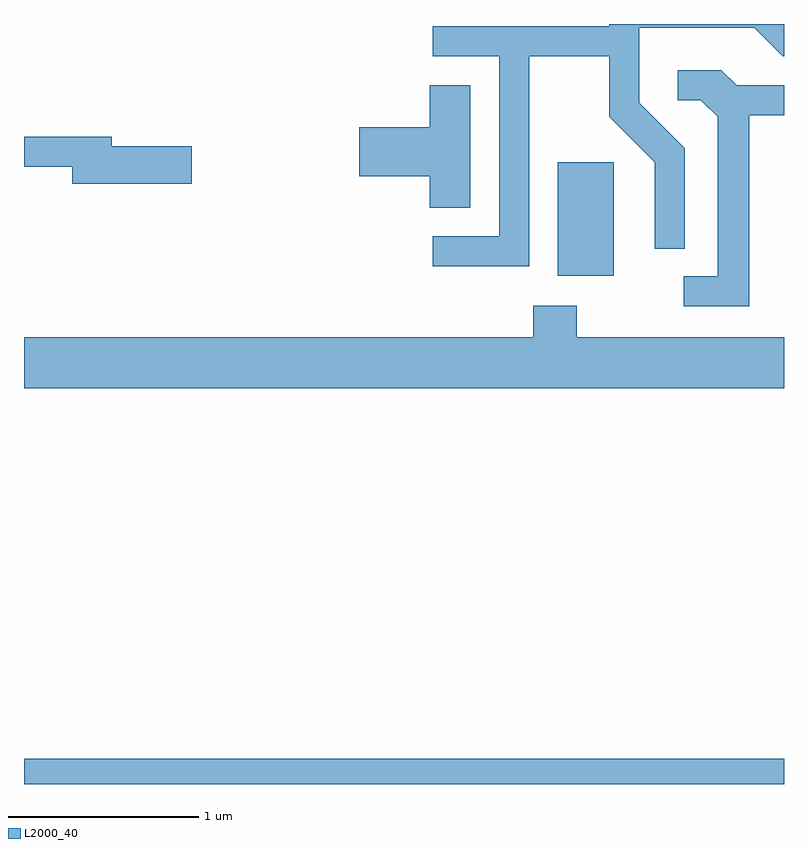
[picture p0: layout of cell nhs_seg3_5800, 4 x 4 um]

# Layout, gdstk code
import gdstk
lib = gdstk.Library(unit=1e-6, precision=1e-09)
def R(c, l, rs):  # rectangles x0, y0, x1, y1
    for r in rs: c.add(gdstk.rectangle(r[:2], r[2:], *l))
def P(c, l, *ps):  # polygons
    for p in ps: c.add(gdstk.Polygon(p, *l))
L2000_40 = (2000, 40)

nhs_seg3_5800 = lib.new_cell('nhs_seg3_5800')
R(nhs_seg3_5800, L2000_40, [(355.611,1163.892,359.611,1164.024), (358.421,1166.566,358.714,1167.164)])
P(nhs_seg3_5800, L2000_40, [(358.269,1167.721),(358.691,1167.721),(358.691,1167.404),(358.931,1167.164),(358.931,1166.708),(359.089,1166.708),(359.089,1167.237),(358.849,1167.477),(358.849,1167.871),(359.454,1167.871),(359.604,1167.721),(359.611,1167.721),(359.611,1167.892),(358.691,1167.892),(358.691,1167.879),(357.763,1167.879),(357.763,1167.721),(358.111,1167.721),(358.111,1166.774),(357.763,1166.774),(357.763,1166.616),(358.269,1166.616)],
  [(359.429,1167.411),(359.611,1167.411),(359.611,1167.569),(359.362,1167.569),(359.282,1167.649),(359.053,1167.649),(359.053,1167.491),(359.174,1167.491),(359.261,1167.404),(359.261,1166.564),(359.083,1166.564),(359.083,1166.406),(359.429,1166.406)],
  [(357.959,1167.569),(357.746,1167.569),(357.746,1167.349),(357.376,1167.349),(357.376,1167.091),(357.746,1167.091),(357.746,1166.926),(357.959,1166.926)],
  [(356.494,1167.249),(356.074,1167.249),(356.074,1167.299),(355.611,1167.299),(355.611,1167.141),(355.866,1167.141),(355.866,1167.051),(356.494,1167.051)],
  [(359.611,1166.244),(358.519,1166.244),(358.519,1166.409),(358.291,1166.409),(358.291,1166.244),(355.611,1166.244),(355.611,1165.976),(359.611,1165.976)])

lib.write_gds('nhs_seg3_5800.gds')
